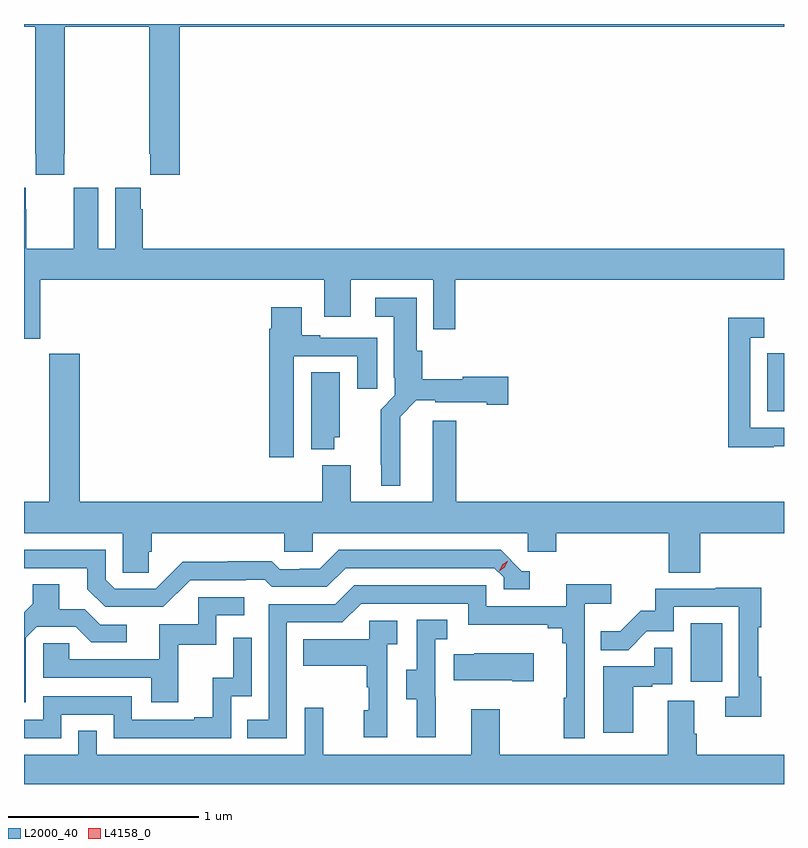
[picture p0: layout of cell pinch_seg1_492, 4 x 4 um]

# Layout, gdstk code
import gdstk
lib = gdstk.Library(unit=1e-6, precision=1e-09)
def R(c, l, rs):  # rectangles x0, y0, x1, y1
    for r in rs: c.add(gdstk.rectangle(r[:2], r[2:], *l))
def P(c, l, *ps):  # polygons
    for p in ps: c.add(gdstk.Polygon(p, *l))
L2000_40 = (2000, 40)
L4158_0 = (4158, 0)

pinch_seg1_492 = lib.new_cell('pinch_seg1_492')
R(pinch_seg1_492, L2000_40, [(1128.842,537.63,1129.006,537.937), (1129.244,539.052,1129.332,539.359)])
P(pinch_seg1_492, L2000_40, [(1125.543,540.409),(1125.546,540.409),(1125.546,541.076),(1125.991,541.076),(1125.991,540.409),(1125.997,540.409),(1125.997,540.297),(1126.151,540.297),(1126.151,541.076),(1129.332,541.076),(1129.332,541.091),(1125.332,541.091),(1125.332,541.076),(1125.391,541.076),(1125.391,540.409),(1125.393,540.409),(1125.393,540.297),(1125.543,540.297)],
  [(1125.418,539.744),(1126.913,539.744),(1126.913,539.55),(1127.053,539.55),(1127.053,539.744),(1127.487,539.744),(1127.487,539.484),(1127.603,539.484),(1127.603,539.744),(1129.332,539.744),(1129.332,539.908),(1125.956,539.908),(1125.956,540.116),(1125.946,540.116),(1125.946,540.229),(1125.812,540.229),(1125.812,539.908),(1125.724,539.908),(1125.724,540.229),(1125.594,540.229),(1125.594,540.116),(1125.593,540.116),(1125.593,539.908),(1125.343,539.908),(1125.343,540.116),(1125.342,540.116),(1125.342,540.229),(1125.332,540.229),(1125.332,539.435),(1125.418,539.435)],
  [(1127.311,539.024),(1127.397,539.111),(1127.496,539.111),(1127.496,539.099),(1127.768,539.099),(1127.768,539.087),(1127.881,539.087),(1127.881,539.234),(1127.64,539.234),(1127.64,539.221),(1127.429,539.221),(1127.429,539.37),(1127.398,539.37),(1127.398,539.65),(1127.181,539.65),(1127.181,539.549),(1127.279,539.549),(1127.279,539.23),(1127.283,539.23),(1127.283,539.136),(1127.209,539.062),(1127.209,538.771),(1127.213,538.771),(1127.213,538.661),(1127.311,538.661)],
  [(1126.753,539.343),(1127.087,539.343),(1127.087,539.172),(1127.191,539.172),(1127.191,539.439),(1126.891,539.439),(1126.891,539.452),(1126.795,539.452),(1126.795,539.599),(1126.634,539.599),(1126.634,539.486),(1126.622,539.486),(1126.622,538.812),(1126.753,538.812)],
  [(1129.277,538.869),(1129.332,538.869),(1129.332,538.965),(1129.155,538.965),(1129.155,539.439),(1129.228,539.439),(1129.228,539.545),(1129.039,539.545),(1129.039,538.864),(1129.277,538.864)],
  [(1125.989,538.314),(1126.004,538.314),(1126.004,538.412),(1126.701,538.412),(1126.701,538.314),(1126.851,538.314),(1126.851,538.412),(1127.982,538.412),(1127.982,538.314),(1128.134,538.314),(1128.134,538.412),(1128.725,538.412),(1128.725,538.204),(1128.89,538.204),(1128.89,538.412),(1129.332,538.412),(1129.332,538.576),(1127.606,538.576),(1127.606,539.002),(1127.483,539.002),(1127.483,538.576),(1127.053,538.576),(1127.053,538.768),(1126.901,538.768),(1126.901,538.576),(1125.626,538.576),(1125.626,539.356),(1125.466,539.356),(1125.466,538.576),(1125.332,538.576),(1125.332,538.412),(1125.852,538.412),(1125.852,538.204),(1125.989,538.204)],
  [(1126.966,538.917),(1126.993,538.917),(1126.993,539.258),(1126.844,539.258),(1126.844,538.853),(1126.966,538.853)],
  [(1126.206,538.164),(1126.499,538.164),(1126.499,538.167),(1126.598,538.167),(1126.637,538.128),(1126.926,538.128),(1127.025,538.227),(1127.808,538.227),(1127.856,538.179),(1127.856,538.116),(1127.995,538.116),(1127.995,538.212),(1127.952,538.212),(1127.841,538.323),(1126.988,538.323),(1126.889,538.224),(1126.782,538.224),(1126.782,538.221),(1126.679,538.221),(1126.637,538.264),(1126.404,538.264),(1126.404,538.261),(1126.168,538.261),(1126.026,538.119),(1125.81,538.119),(1125.762,538.167),(1125.762,538.323),(1125.332,538.323),(1125.332,538.227),(1125.665,538.227),(1125.665,538.117),(1125.759,538.023),(1126.065,538.023)],
  [(1125.342,537.861),(1125.399,537.918),(1125.605,537.918),(1125.686,537.837),(1125.874,537.837),(1125.874,537.93),(1125.732,537.93),(1125.652,538.01),(1125.517,538.01),(1125.517,538.142),(1125.377,538.142),(1125.377,538.04),(1125.332,537.995),(1125.332,537.522),(1125.342,537.522)],
  [(1126.716,537.942),(1127.007,537.942),(1127.106,538.041),(1127.67,538.041),(1127.67,537.929),(1128.089,537.929),(1128.089,537.91),(1128.166,537.91),(1128.166,537.833),(1128.185,537.833),(1128.185,537.545),(1128.174,537.545),(1128.174,537.333),(1128.282,537.333),(1128.282,538.04),(1128.424,538.04),(1128.424,538.142),(1128.185,538.142),(1128.185,538.026),(1127.766,538.026),(1127.766,538.137),(1127.069,538.137),(1126.97,538.038),(1126.62,538.038),(1126.62,537.429),(1126.507,537.429),(1126.507,537.333),(1126.716,537.333)],
  [(1129.211,537.656),(1129.196,537.656),(1129.196,537.916),(1129.211,537.916),(1129.211,538.124),(1128.973,538.124),(1128.973,538.119),(1128.655,538.119),(1128.655,538.002),(1128.578,538.002),(1128.471,537.895),(1128.367,537.895),(1128.367,537.796),(1128.511,537.796),(1128.609,537.894),(1128.753,537.894),(1128.753,538.023),(1129.095,538.023),(1129.095,537.549),(1129.023,537.549),(1129.023,537.444),(1129.211,537.444)],
  [(1126.145,537.825),(1126.344,537.825),(1126.344,537.978),(1126.492,537.978),(1126.492,538.074),(1126.248,538.074),(1126.248,537.933),(1126.043,537.933),(1126.043,537.747),(1125.569,537.747),(1125.569,537.831),(1125.432,537.831),(1125.432,537.651),(1126.001,537.651),(1126.001,537.522),(1126.145,537.522)],
  [(1127.498,537.549),(1127.496,537.549),(1127.496,537.853),(1127.56,537.853),(1127.56,537.956),(1127.4,537.956),(1127.4,537.693),(1127.345,537.693),(1127.345,537.538),(1127.399,537.538),(1127.399,537.336),(1127.498,537.336)],
  [(1127.244,537.827),(1127.296,537.827),(1127.296,537.951),(1127.148,537.951),(1127.148,537.853),(1126.801,537.853),(1126.801,537.713),(1127.136,537.713),(1127.136,537.599),(1127.146,537.599),(1127.146,537.48),(1127.12,537.48),(1127.12,537.336),(1127.244,537.336)],
  [(1125.528,537.456),(1125.804,537.456),(1125.804,537.333),(1126.422,537.333),(1126.422,537.552),(1126.53,537.552),(1126.53,537.862),(1126.434,537.862),(1126.434,537.65),(1126.325,537.65),(1126.325,537.442),(1126.229,537.442),(1126.229,537.429),(1125.9,537.429),(1125.9,537.552),(1125.432,537.552),(1125.432,537.429),(1125.332,537.429),(1125.332,537.333),(1125.528,537.333)],
  [(1128.538,537.603),(1128.638,537.603),(1128.638,537.615),(1128.744,537.615),(1128.744,537.809),(1128.649,537.809),(1128.649,537.711),(1128.38,537.711),(1128.38,537.36),(1128.538,537.36)],
  [(1128.016,537.778),(1127.701,537.778),(1127.701,537.775),(1127.593,537.775),(1127.593,537.638),(1127.903,537.638),(1127.903,537.631),(1128.016,537.631)],
  [(1129.332,537.244),(1128.872,537.244),(1128.872,537.356),(1128.859,537.356),(1128.859,537.53),(1128.719,537.53),(1128.719,537.244),(1127.835,537.244),(1127.835,537.484),(1127.687,537.484),(1127.687,537.244),(1126.907,537.244),(1126.907,537.493),(1126.809,537.493),(1126.809,537.244),(1125.714,537.244),(1125.714,537.371),(1125.618,537.371),(1125.618,537.244),(1125.332,537.244),(1125.332,537.091),(1129.332,537.091)])
P(pinch_seg1_492, L4158_0, [(1127.833,538.212),(1127.833,538.212),(1127.848,538.245),(1127.879,538.265),(1127.879,538.265),(1127.879,538.265),(1127.863,538.232),(1127.833,538.212)])

lib.write_gds('pinch_seg1_492.gds')
